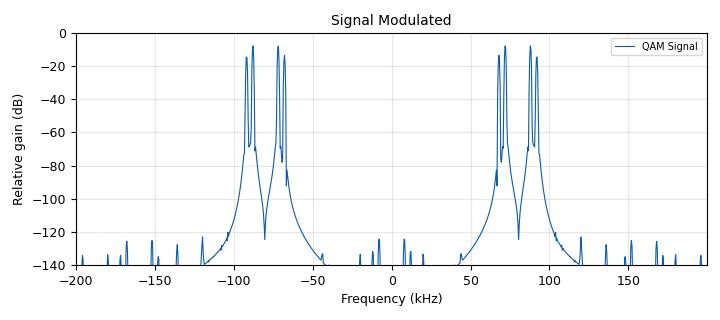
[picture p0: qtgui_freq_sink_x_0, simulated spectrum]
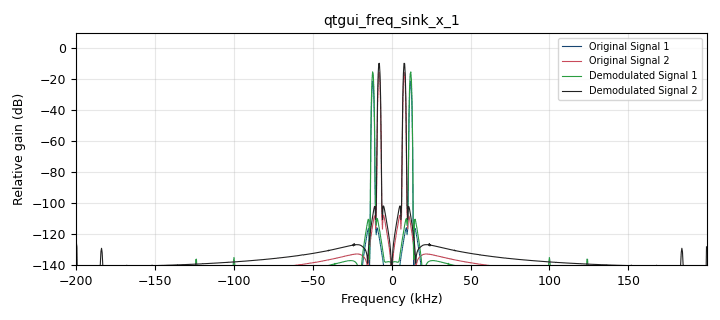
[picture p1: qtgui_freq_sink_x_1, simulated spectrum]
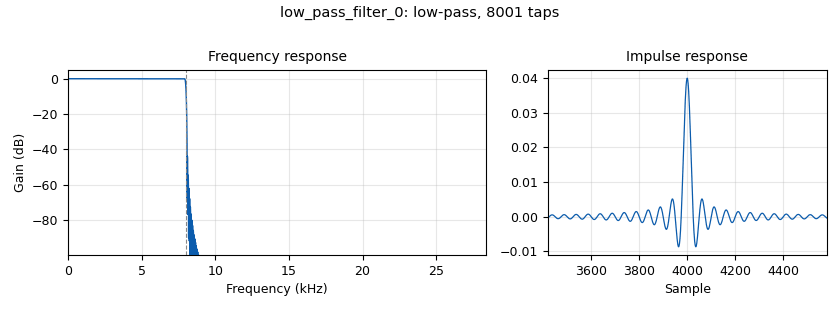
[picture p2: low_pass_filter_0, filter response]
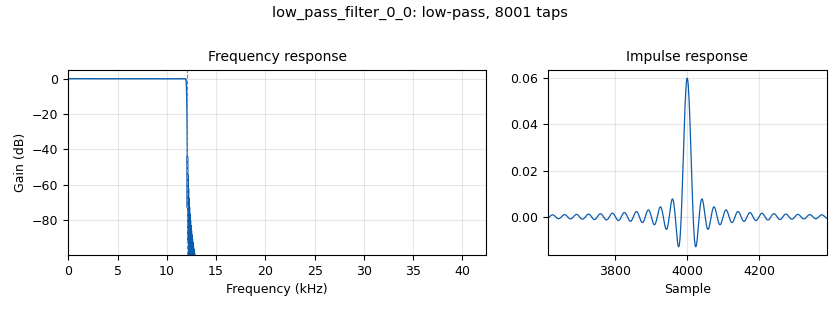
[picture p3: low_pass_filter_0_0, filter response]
<?xml version='1.0' encoding='utf-8'?>
<?grc format='1' created='3.7.9'?>
<flow_graph>
<block>
<key>options</key>
<param><key>id</key><value>loopback_qam_sine_signals</value></param>
<param><key>author</key><value>Hugo Soares</value></param>
<param><key>category</key><value>Custom</value></param>
<param><key>generate_options</key><value>qt_gui</value></param>
<param><key>title</key><value>"Loopback QAM Modulation - Sine Signals"</value></param>
</block>
<block>
<key>variable</key>
<param><key>id</key><value>carrier</value></param>
<param><key>value</key><value>80e3</value></param>
</block>
<block>
<key>variable</key>
<param><key>id</key><value>samp_rate</value></param>
<param><key>value</key><value>400000</value></param>
</block>
<block>
<key>analog_sig_source_x</key>
<param><key>id</key><value>analog_sig_source_x_1</value></param>
<param><key>amp</key><value>2</value></param>
<param><key>freq</key><value>carrier</value></param>
<param><key>offset</key><value>0</value></param>
<param><key>type</key><value>float</value></param>
<param><key>samp_rate</key><value>samp_rate</value></param>
<param><key>waveform</key><value>analog.GR_COS_WAVE</value></param>
</block>
<block>
<key>analog_sig_source_x</key>
<param><key>id</key><value>analog_sig_source_x_1_0</value></param>
<param><key>amp</key><value>2</value></param>
<param><key>freq</key><value>carrier</value></param>
<param><key>offset</key><value>0</value></param>
<param><key>type</key><value>float</value></param>
<param><key>samp_rate</key><value>samp_rate</value></param>
<param><key>waveform</key><value>analog.GR_SIN_WAVE</value></param>
</block>
<block>
<key>analog_sig_source_x</key>
<param><key>id</key><value>analog_sig_source_x_1_0_0</value></param>
<param><key>amp</key><value>1</value></param>
<param><key>freq</key><value>carrier</value></param>
<param><key>offset</key><value>0</value></param>
<param><key>type</key><value>float</value></param>
<param><key>samp_rate</key><value>samp_rate</value></param>
<param><key>waveform</key><value>analog.GR_SIN_WAVE</value></param>
</block>
<block>
<key>analog_sig_source_x</key>
<param><key>id</key><value>analog_sig_source_x_1_1</value></param>
<param><key>amp</key><value>1</value></param>
<param><key>freq</key><value>carrier</value></param>
<param><key>offset</key><value>0</value></param>
<param><key>type</key><value>float</value></param>
<param><key>samp_rate</key><value>samp_rate</value></param>
<param><key>waveform</key><value>analog.GR_COS_WAVE</value></param>
</block>
<block>
<key>analog_sig_source_x</key>
<param><key>id</key><value>analog_sig_source_x_1_2</value></param>
<param><key>amp</key><value>2</value></param>
<param><key>freq</key><value>8000</value></param>
<param><key>offset</key><value>0</value></param>
<param><key>type</key><value>float</value></param>
<param><key>samp_rate</key><value>samp_rate</value></param>
<param><key>waveform</key><value>analog.GR_COS_WAVE</value></param>
</block>
<block>
<key>analog_sig_source_x</key>
<param><key>id</key><value>analog_sig_source_x_1_2_0</value></param>
<param><key>amp</key><value>1</value></param>
<param><key>freq</key><value>12000</value></param>
<param><key>offset</key><value>0</value></param>
<param><key>type</key><value>float</value></param>
<param><key>samp_rate</key><value>samp_rate</value></param>
<param><key>waveform</key><value>analog.GR_COS_WAVE</value></param>
</block>
<block>
<key>audio_sink</key>
<param><key>id</key><value>audio_sink_0</value></param>
<param><key>num_inputs</key><value>2</value></param>
<param><key>samp_rate</key><value>samp_rate</value></param>
</block>
<block>
<key>blocks_add_xx</key>
<param><key>id</key><value>blocks_add_xx_0_1</value></param>
<param><key>type</key><value>float</value></param>
</block>
<block>
<key>blocks_multiply_xx</key>
<param><key>id</key><value>blocks_multiply_xx_0</value></param>
<param><key>type</key><value>float</value></param>
</block>
<block>
<key>blocks_multiply_xx</key>
<param><key>id</key><value>blocks_multiply_xx_0_0</value></param>
<param><key>type</key><value>float</value></param>
</block>
<block>
<key>blocks_multiply_xx</key>
<param><key>id</key><value>blocks_multiply_xx_0_0_0</value></param>
<param><key>type</key><value>float</value></param>
</block>
<block>
<key>blocks_multiply_xx</key>
<param><key>id</key><value>blocks_multiply_xx_0_0_0_0</value></param>
<param><key>type</key><value>float</value></param>
</block>
<block>
<key>blocks_throttle</key>
<param><key>id</key><value>blocks_throttle_0</value></param>
<param><key>samples_per_second</key><value>samp_rate</value></param>
<param><key>type</key><value>float</value></param>
</block>
<block>
<key>qtgui_tab_widget</key>
<param><key>id</key><value>janela</value></param>
<param><key>label0</key><value>Frequency</value></param>
<param><key>label1</key><value>QAM Signal</value></param>
<param><key>num_tabs</key><value>2</value></param>
</block>
<block>
<key>low_pass_filter</key>
<param><key>id</key><value>low_pass_filter_0</value></param>
<param><key>cutoff_freq</key><value>8000</value></param>
<param><key>decim</key><value>1</value></param>
<param><key>type</key><value>fir_filter_fff</value></param>
<param><key>gain</key><value>1</value></param>
<param><key>samp_rate</key><value>samp_rate</value></param>
<param><key>width</key><value>100</value></param>
<param><key>win</key><value>firdes.WIN_HANN</value></param>
</block>
<block>
<key>low_pass_filter</key>
<param><key>id</key><value>low_pass_filter_0_0</value></param>
<param><key>cutoff_freq</key><value>12000</value></param>
<param><key>decim</key><value>1</value></param>
<param><key>type</key><value>fir_filter_fff</value></param>
<param><key>gain</key><value>1</value></param>
<param><key>samp_rate</key><value>samp_rate</value></param>
<param><key>width</key><value>100</value></param>
<param><key>win</key><value>firdes.WIN_HANN</value></param>
</block>
<block>
<key>qtgui_freq_sink_x</key>
<param><key>id</key><value>qtgui_freq_sink_x_0</value></param>
<param><key>bw</key><value>samp_rate</value></param>
<param><key>fc</key><value>0</value></param>
<param><key>fftsize</key><value>1024</value></param>
<param><key>gui_hint</key><value>janela@1</value></param>
<param><key>color1</key><value>"magenta"</value></param>
<param><key>label1</key><value>QAM Signal</value></param>
<param><key>name</key><value>"Signal Modulated"</value></param>
<param><key>showports</key><value>True</value></param>
<param><key>type</key><value>float</value></param>
<param><key>wintype</key><value>firdes.WIN_BLACKMAN</value></param>
<param><key>ymax</key><value>0</value></param>
</block>
<block>
<key>qtgui_freq_sink_x</key>
<param><key>id</key><value>qtgui_freq_sink_x_1</value></param>
<param><key>average</key><value>0.2</value></param>
<param><key>bw</key><value>samp_rate</value></param>
<param><key>fc</key><value>0</value></param>
<param><key>fftsize</key><value>1024</value></param>
<param><key>gui_hint</key><value>janela@0</value></param>
<param><key>grid</key><value>True</value></param>
<param><key>label1</key><value>Original Signal 1</value></param>
<param><key>label2</key><value>Original Signal 2</value></param>
<param><key>label3</key><value>Demodulated Signal 1</value></param>
<param><key>label4</key><value>Demodulated Signal 2</value></param>
<param><key>nconnections</key><value>4</value></param>
<param><key>showports</key><value>True</value></param>
<param><key>type</key><value>float</value></param>
<param><key>wintype</key><value>firdes.WIN_BLACKMAN_hARRIS</value></param>
</block>
<connection><source_block_id>analog_sig_source_x_1</source_block_id><sink_block_id>blocks_multiply_xx_0</sink_block_id><source_key>0</source_key><sink_key>1</sink_key></connection>
<connection><source_block_id>analog_sig_source_x_1_0</source_block_id><sink_block_id>blocks_multiply_xx_0_0</sink_block_id><source_key>0</source_key><sink_key>1</sink_key></connection>
<connection><source_block_id>analog_sig_source_x_1_0_0</source_block_id><sink_block_id>blocks_multiply_xx_0_0_0_0</sink_block_id><source_key>0</source_key><sink_key>0</sink_key></connection>
<connection><source_block_id>analog_sig_source_x_1_1</source_block_id><sink_block_id>blocks_multiply_xx_0_0_0</sink_block_id><source_key>0</source_key><sink_key>0</sink_key></connection>
<connection><source_block_id>analog_sig_source_x_1_2</source_block_id><sink_block_id>blocks_multiply_xx_0</sink_block_id><source_key>0</source_key><sink_key>0</sink_key></connection>
<connection><source_block_id>analog_sig_source_x_1_2</source_block_id><sink_block_id>qtgui_freq_sink_x_1</sink_block_id><source_key>0</source_key><sink_key>3</sink_key></connection>
<connection><source_block_id>analog_sig_source_x_1_2_0</source_block_id><sink_block_id>blocks_multiply_xx_0_0</sink_block_id><source_key>0</source_key><sink_key>0</sink_key></connection>
<connection><source_block_id>analog_sig_source_x_1_2_0</source_block_id><sink_block_id>qtgui_freq_sink_x_1</sink_block_id><source_key>0</source_key><sink_key>2</sink_key></connection>
<connection><source_block_id>blocks_add_xx_0_1</source_block_id><sink_block_id>blocks_throttle_0</sink_block_id><source_key>0</source_key><sink_key>0</sink_key></connection>
<connection><source_block_id>blocks_multiply_xx_0</source_block_id><sink_block_id>blocks_add_xx_0_1</sink_block_id><source_key>0</source_key><sink_key>0</sink_key></connection>
<connection><source_block_id>blocks_multiply_xx_0_0</source_block_id><sink_block_id>blocks_add_xx_0_1</sink_block_id><source_key>0</source_key><sink_key>1</sink_key></connection>
<connection><source_block_id>blocks_multiply_xx_0_0_0</source_block_id><sink_block_id>low_pass_filter_0</sink_block_id><source_key>0</source_key><sink_key>0</sink_key></connection>
<connection><source_block_id>blocks_multiply_xx_0_0_0_0</source_block_id><sink_block_id>low_pass_filter_0_0</sink_block_id><source_key>0</source_key><sink_key>0</sink_key></connection>
<connection><source_block_id>blocks_throttle_0</source_block_id><sink_block_id>blocks_multiply_xx_0_0_0</sink_block_id><source_key>0</source_key><sink_key>1</sink_key></connection>
<connection><source_block_id>blocks_throttle_0</source_block_id><sink_block_id>blocks_multiply_xx_0_0_0_0</sink_block_id><source_key>0</source_key><sink_key>1</sink_key></connection>
<connection><source_block_id>blocks_throttle_0</source_block_id><sink_block_id>qtgui_freq_sink_x_0</sink_block_id><source_key>0</source_key><sink_key>0</sink_key></connection>
<connection><source_block_id>low_pass_filter_0</source_block_id><sink_block_id>audio_sink_0</sink_block_id><source_key>0</source_key><sink_key>1</sink_key></connection>
<connection><source_block_id>low_pass_filter_0</source_block_id><sink_block_id>qtgui_freq_sink_x_1</sink_block_id><source_key>0</source_key><sink_key>1</sink_key></connection>
<connection><source_block_id>low_pass_filter_0_0</source_block_id><sink_block_id>audio_sink_0</sink_block_id><source_key>0</source_key><sink_key>0</sink_key></connection>
<connection><source_block_id>low_pass_filter_0_0</source_block_id><sink_block_id>qtgui_freq_sink_x_1</sink_block_id><source_key>0</source_key><sink_key>0</sink_key></connection>
</flow_graph>
